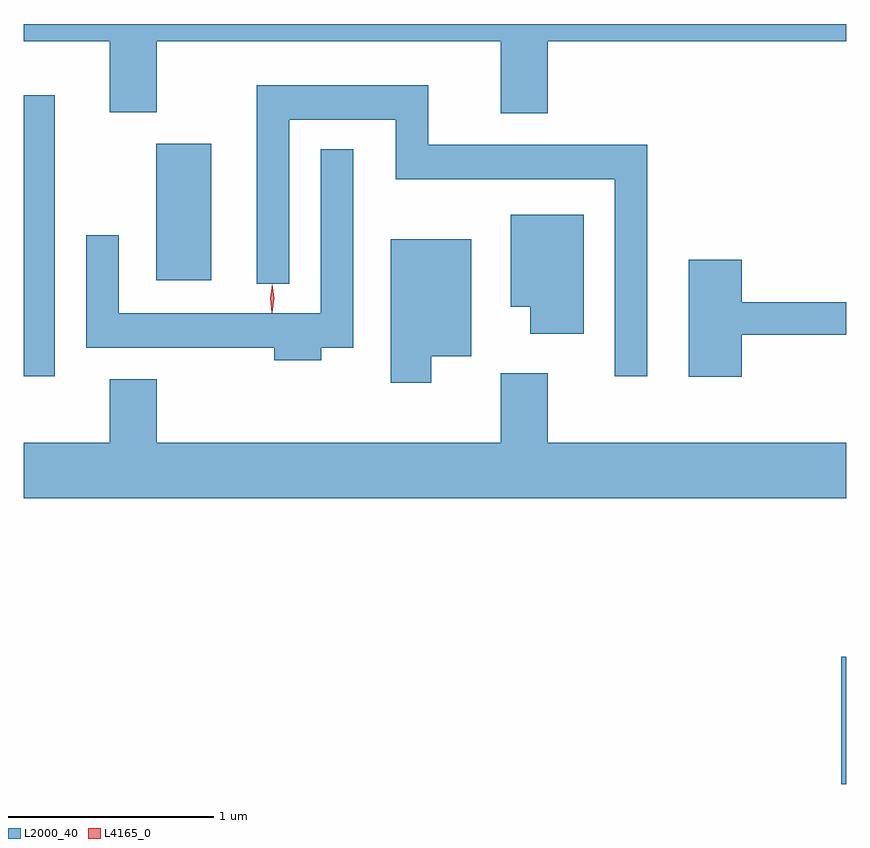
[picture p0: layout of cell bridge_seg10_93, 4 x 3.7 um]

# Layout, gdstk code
import gdstk
lib = gdstk.Library(unit=1e-6, precision=1e-09)
def R(c, l, rs):  # rectangles x0, y0, x1, y1
    for r in rs: c.add(gdstk.rectangle(r[:2], r[2:], *l))
def P(c, l, *ps):  # polygons
    for p in ps: c.add(gdstk.Polygon(p, *l))
L2000_40 = (2000, 40)
L4165_0 = (4165, 0)

bridge_seg10_93 = lib.new_cell('bridge_seg10_93')
R(bridge_seg10_93, L2000_40, [(1588.706,2154.706,1588.732,2155.324), (1584.732,2156.688,1584.884,2158.054), (1585.376,2157.156,1585.644,2157.819)])
P(bridge_seg10_93, L2000_40, [(1587.279,2158.316),(1588.732,2158.316),(1588.732,2158.401),(1584.732,2158.401),(1584.732,2158.316),(1585.151,2158.316),(1585.151,2157.971),(1585.379,2157.971),(1585.379,2158.316),(1587.051,2158.316),(1587.051,2157.966),(1587.279,2157.966)],
  [(1587.764,2157.814),(1586.699,2157.814),(1586.699,2158.104),(1585.866,2158.104),(1585.866,2157.138),(1586.024,2157.138),(1586.024,2157.936),(1586.541,2157.936),(1586.541,2157.646),(1587.606,2157.646),(1587.606,2156.688),(1587.764,2156.688)],
  [(1586.179,2156.826),(1586.334,2156.826),(1586.334,2157.793),(1586.176,2157.793),(1586.176,2156.994),(1585.194,2156.994),(1585.194,2157.373),(1585.036,2157.373),(1585.036,2156.826),(1585.951,2156.826),(1585.951,2156.766),(1586.179,2156.766)],
  [(1587.454,2157.474),(1587.101,2157.474),(1587.101,2157.026),(1587.196,2157.026),(1587.196,2156.896),(1587.454,2156.896)],
  [(1586.714,2156.786),(1586.909,2156.786),(1586.909,2157.354),(1586.516,2157.354),(1586.516,2156.656),(1586.714,2156.656)],
  [(1588.224,2156.891),(1588.732,2156.891),(1588.732,2157.049),(1588.224,2157.049),(1588.224,2157.254),(1587.966,2157.254),(1587.966,2156.686),(1588.224,2156.686)],
  [(1588.732,2156.364),(1587.279,2156.364),(1587.279,2156.704),(1587.051,2156.704),(1587.051,2156.364),(1585.379,2156.364),(1585.379,2156.674),(1585.151,2156.674),(1585.151,2156.364),(1584.732,2156.364),(1584.732,2156.096),(1588.732,2156.096)])
P(bridge_seg10_93, L4165_0, [(1585.939,2156.997),(1585.93,2157.067),(1585.94,2157.136),(1585.941,2157.136),(1585.941,2157.136),(1585.95,2157.067),(1585.94,2156.997),(1585.94,2156.997)])

lib.write_gds('bridge_seg10_93.gds')
